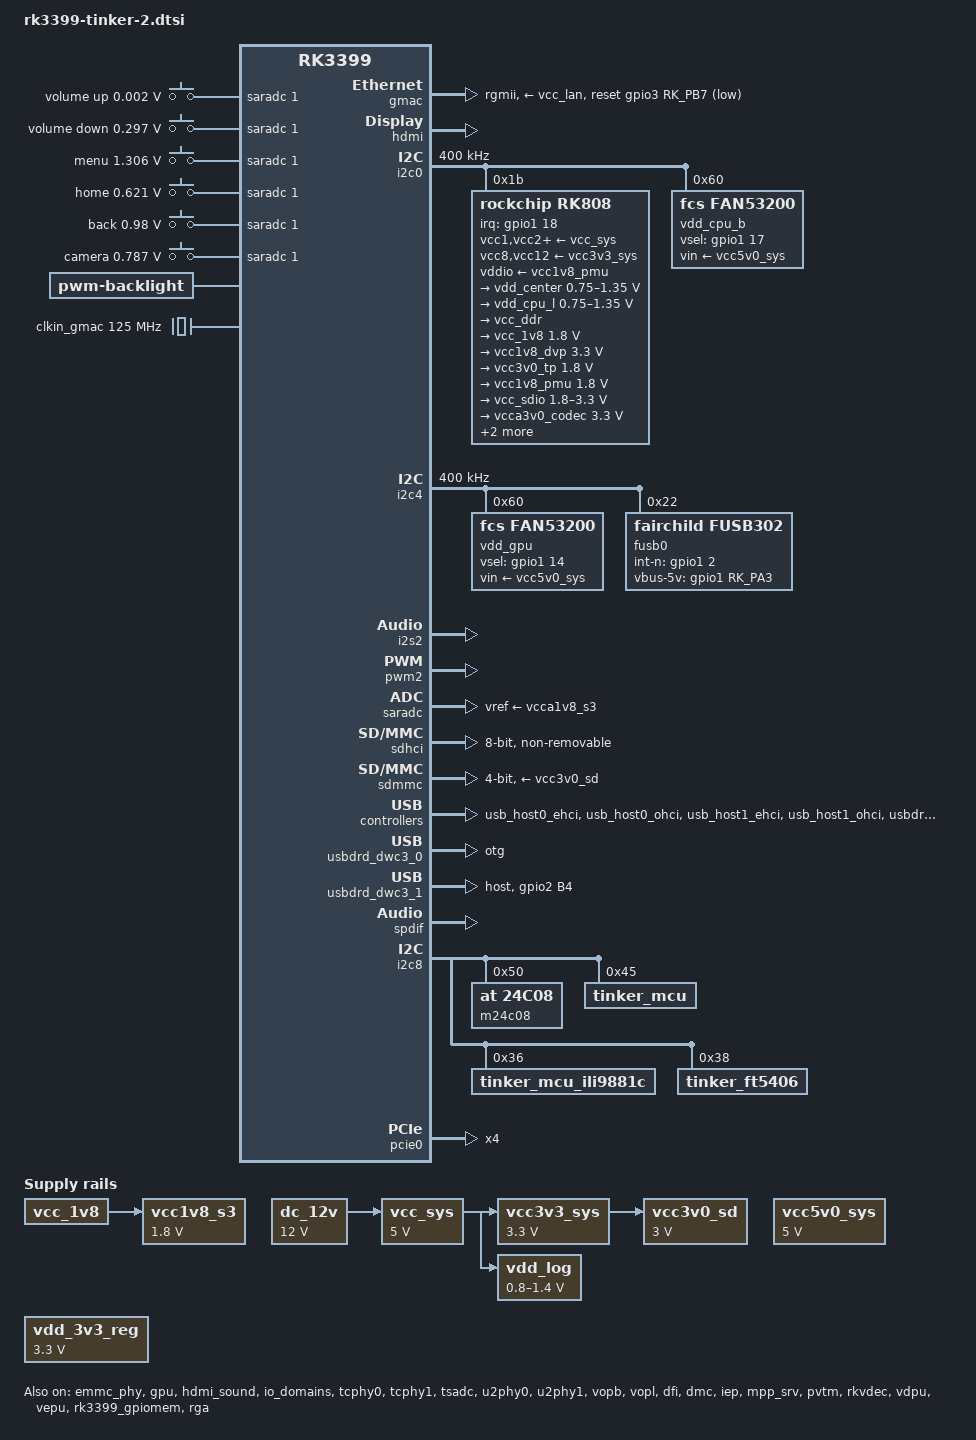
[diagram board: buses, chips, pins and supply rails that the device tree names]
/*
 * Copyright (c) 2016 Fuzhou Rockchip Electronics Co., Ltd
 *
 * This file is dual-licensed: you can use it either under the terms
 * of the GPL or the X11 license, at your option. Note that this dual
 * licensing only applies to this file, and not this project as a
 * whole.
 *
 *  a) This file is free software; you can redistribute it and/or
 *     modify it under the terms of the GNU General Public License as
 *     published by the Free Software Foundation; either version 2 of the
 *     License, or (at your option) any later version.
 *
 *     This file is distributed in the hope that it will be useful,
 *     but WITHOUT ANY WARRANTY; without even the implied warranty of
 *     MERCHANTABILITY or FITNESS FOR A PARTICULAR PURPOSE.  See the
 *     GNU General Public License for more details.
 *
 * Or, alternatively,
 *
 *  b) Permission is hereby granted, free of charge, to any person
 *     obtaining a copy of this software and associated documentation
 *     files (the "Software"), to deal in the Software without
 *     restriction, including without limitation the rights to use,
 *     copy, modify, merge, publish, distribute, sublicense, and/or
 *     sell copies of the Software, and to permit persons to whom the
 *     Software is furnished to do so, subject to the following
 *     conditions:
 *
 *     The above copyright notice and this permission notice shall be
 *     included in all copies or substantial portions of the Software.
 *
 *     THE SOFTWARE IS PROVIDED "AS IS", WITHOUT WARRANTY OF ANY KIND,
 *     EXPRESS OR IMPLIED, INCLUDING BUT NOT LIMITED TO THE WARRANTIES
 *     OF MERCHANTABILITY, FITNESS FOR A PARTICULAR PURPOSE AND
 *     NONINFRINGEMENT. IN NO EVENT SHALL THE AUTHORS OR COPYRIGHT
 *     HOLDERS BE LIABLE FOR ANY CLAIM, DAMAGES OR OTHER LIABILITY,
 *     WHETHER IN AN ACTION OF CONTRACT, TORT OR OTHERWISE, ARISING
 *     FROM, OUT OF OR IN CONNECTION WITH THE SOFTWARE OR THE USE OR
 *     OTHER DEALINGS IN THE SOFTWARE.
 */

#include <dt-bindings/sensor-dev.h>
#include <dt-bindings/display/drm_mipi_dsi.h>
#include "dt-bindings/pwm/pwm.h"
#include "dt-bindings/input/input.h"
#include "rk3399.dtsi"
#include "rk3399-opp.dtsi"
#include "rk3399-vop-clk-set.dtsi"

/ {
	compatible = "rockchip,rk3399-tinker_board_2", "rockchip,rk3399";

	reserved-memory {
		#address-cells = <2>;
		#size-cells = <2>;
		ranges;

		drm_logo: drm-logo@00000000 {
			compatible = "rockchip,drm-logo";
			reg = <0x0 0x0 0x0 0x0>;
		};

		ramoops: ramoops@110000 {
			compatible = "ramoops";
			reg = <0x0 0x110000 0x0 0xf0000>;
			record-size = <0x20000>;
			console-size = <0x80000>;
			ftrace-size = <0x00000>;
			pmsg-size = <0x50000>;
		};
	};

	rk3399_gpiomem: rk3399-gpiomem {
		compatible = "rockchip,rk3399-gpiomem";
		reg = <0x0 0xff720000 0x0 0x1000>;
		status = "okay";
	};

	fiq_debugger: fiq-debugger {
		compatible = "rockchip,fiq-debugger";
		rockchip,serial-id = <2>;
		rockchip,signal-irq = <182>;
		rockchip,wake-irq = <0>;
		rockchip,irq-mode-enable = <1>;  /* If enable uart uses irq instead of fiq */
		rockchip,baudrate = <115200>;  /* Only 115200 and 1500000 */
		pinctrl-names = "default";
		pinctrl-0 = <&uart2c_xfer>;
		status = "okay";
	};

	cif_isp0: cif_isp@ff910000 {
		compatible = "rockchip,rk3399-cif-isp";
		rockchip,grf = <&grf>;
		reg = <0x0 0xff910000 0x0 0x4000>, <0x0 0xff968000 0x0 0x8000>;
		reg-names = "register", "dsihost-register";
		clocks =
			<&cru ACLK_ISP0_NOC>, <&cru ACLK_ISP0_WRAPPER>,
			<&cru HCLK_ISP0_NOC>, <&cru HCLK_ISP0_WRAPPER>,
			<&cru SCLK_ISP0>, <&cru SCLK_DPHY_RX0_CFG>,
			<&cru SCLK_CIF_OUT>, <&cru SCLK_CIF_OUT>,
			<&cru SCLK_MIPIDPHY_REF>;
		clock-names =
			"aclk_isp0_noc", "aclk_isp0_wrapper",
			"hclk_isp0_noc", "hclk_isp0_wrapper",
			"clk_isp0", "pclk_dphyrx",
			"clk_cif_out", "clk_cif_pll",
			"pclk_dphy_ref";
		interrupts = <GIC_SPI 43 IRQ_TYPE_LEVEL_HIGH 0>;
		interrupt-names = "cif_isp10_irq";
		power-domains = <&power RK3399_PD_ISP0>;
		rockchip,isp,iommu-enable = <1>;
		iommus = <&isp0_mmu>;
		status = "disabled";
	};

	cif_isp1: cif_isp@ff920000 {
		compatible = "rockchip,rk3399-cif-isp";
		rockchip,grf = <&grf>;
		reg = <0x0 0xff920000 0x0 0x4000>, <0x0 0xff968000 0x0 0x8000>;
		reg-names = "register", "dsihost-register";
		clocks =
			<&cru ACLK_ISP1_NOC>, <&cru ACLK_ISP1_WRAPPER>,
			<&cru HCLK_ISP1_NOC>, <&cru HCLK_ISP1_WRAPPER>,
			<&cru SCLK_ISP1>, <&cru PCLK_ISP1_WRAPPER>,
			<&cru SCLK_DPHY_TX1RX1_CFG>,
			<&cru PCLK_MIPI_DSI1>, <&cru SCLK_MIPIDPHY_CFG>,
			<&cru SCLK_CIF_OUT>, <&cru SCLK_CIF_OUT>,
			<&cru SCLK_MIPIDPHY_REF>;
		clock-names =
			"aclk_isp1_noc", "aclk_isp1_wrapper",
			"hclk_isp1_noc", "hclk_isp1_wrapper",
			"clk_isp1", "pclkin_isp1",
			"pclk_dphytxrx",
			"pclk_mipi_dsi","mipi_dphy_cfg",
			"clk_cif_out", "clk_cif_pll",
			"pclk_dphy_ref";
		interrupts = <GIC_SPI 44 IRQ_TYPE_LEVEL_HIGH 0>;
		interrupt-names = "cif_isp10_irq";
		power-domains = <&power RK3399_PD_ISP1>;
		rockchip,isp,iommu-enable = <1>;
		iommus = <&isp1_mmu>;
		status = "disabled";
	};

	rga: rga@ff680000 {
		compatible = "rockchip,rga2";
		dev_mode = <1>;
		reg = <0x0 0xff680000 0x0 0x1000>;
		interrupts = <GIC_SPI 55 IRQ_TYPE_LEVEL_HIGH 0>;
		clocks = <&cru ACLK_RGA>, <&cru HCLK_RGA>, <&cru SCLK_RGA_CORE>;
		clock-names = "aclk_rga", "hclk_rga", "clk_rga";
		power-domains = <&power RK3399_PD_RGA>;
		status = "okay";
	};

	spdif-sound {
		status = "disabled";
		compatible = "simple-audio-card";
		simple-audio-card,name = "ROCKCHIP,SPDIF";
		simple-audio-card,cpu {
			sound-dai = <&spdif>;
		};
		simple-audio-card,codec {
			sound-dai = <&spdif_out>;
		};
	};

	spdif_out: spdif-out {
		status = "okay";
		compatible = "linux,spdif-dit";
		#sound-dai-cells = <0>;
	};

	sdio_pwrseq: sdio-pwrseq {
		compatible = "mmc-pwrseq-simple";
		clocks = <&rk808 1>;
		clock-names = "ext_clock";
		pinctrl-names = "default";
		//pinctrl-0 = <&wifi_enable_h>;

		/*
		 * On the module itself this is one of these (depending
		 * on the actual card populated):
		 * - SDIO_RESET_L_WL_REG_ON
		 * - PDN (power down when low)
		 */
		//reset-gpios = <&gpio0 10 GPIO_ACTIVE_LOW>; /* GPIO0_B2 */
	};

	wireless-wlan {
		compatible = "wlan-platdata";
		wifi_chip_type = "rtl8822ce";
		status = "okay";
	};

	wireless-bluetooth {
		compatible = "bluetooth-platdata";
		clocks = <&rk808 1>;
		clock-names = "ext_clock";
		//wifi-bt-power-toggle;
		pinctrl-names = "default", "rts_gpio";
		pinctrl-0 = <&bt_reset_gpio>, <&bt_wake_gpio>, <&bt_irq_gpio>;
		//BT,power_gpio  = <&gpio3 19 GPIO_ACTIVE_HIGH>; /* GPIOx_xx */
		BT,reset_gpio    = <&gpio0 9 GPIO_ACTIVE_HIGH>; /* GPIO0_B1 */
		BT,wake_gpio     = <&gpio2 26 GPIO_ACTIVE_HIGH>; /* GPIO2_D2 */
		//BT,wake_host_irq = <&gpio0 4 GPIO_ACTIVE_HIGH>; /* GPIO0_A4 */
		status = "disabled";
	};

	adc_keys: adc-keys {
		compatible = "adc-keys";
		io-channels = <&saradc 1>;
		io-channel-names = "buttons";
		keyup-threshold-microvolt = <1800000>;
		poll-interval = <100>;

		vol-up-key {
			label = "volume up";
			linux,code = <KEY_VOLUMEUP>;
			press-threshold-microvolt = <1750>;
		};

		vol-down-key {
			label = "volume down";
			linux,code = <KEY_VOLUMEDOWN>;
			press-threshold-microvolt = <297500>;
		};

		menu-key {
			label = "menu";
			linux,code = <KEY_MENU>;
			press-threshold-microvolt = <1305500>;
		};

		home-key {
			label = "home";
			linux,code = <KEY_HOME>;
			press-threshold-microvolt = <621250>;
		};

		back-key {
			label = "back";
			linux,code = <KEY_BACK>;
			press-threshold-microvolt = <980000>;
		};

		camera-key {
			label = "camera";
			linux,code = <KEY_CAMERA>;
			press-threshold-microvolt = <787500>;
		};
	};

	backlight: backlight {
		compatible = "pwm-backlight";
		brightness-levels = <
			  0   1   2   3   4   5   6   7
			  8   9  10  11  12  13  14  15
			 16  17  18  19  20  21  22  23
			 24  25  26  27  28  29  30  31
			 32  33  34  35  36  37  38  39
			 40  41  42  43  44  45  46  47
			 48  49  50  51  52  53  54  55
			 56  57  58  59  60  61  62  63
			 64  65  66  67  68  69  70  71
			 72  73  74  75  76  77  78  79
			 80  81  82  83  84  85  86  87
			 88  89  90  91  92  93  94  95
			 96  97  98  99 100 101 102 103
			104 105 106 107 108 109 110 111
			112 113 114 115 116 117 118 119
			120 121 122 123 124 125 126 127
			128 129 130 131 132 133 134 135
			136 137 138 139 140 141 142 143
			144 145 146 147 148 149 150 151
			152 153 154 155 156 157 158 159
			160 161 162 163 164 165 166 167
			168 169 170 171 172 173 174 175
			176 177 178 179 180 181 182 183
			184 185 186 187 188 189 190 191
			192 193 194 195 196 197 198 199
			200 201 202 203 204 205 206 207
			208 209 210 211 212 213 214 215
			216 217 218 219 220 221 222 223
			224 225 226 227 228 229 230 231
			232 233 234 235 236 237 238 239
			240 241 242 243 244 245 246 247
			248 249 250 251 252 253 254 255>;
		default-brightness-level = <200>;
	};

	clkin_gmac: external-gmac-clock {
		compatible = "fixed-clock";
		clock-frequency = <125000000>;
		clock-output-names = "clkin_gmac";
		#clock-cells = <0>;
	};

	dc_12v: dc-12v {
		compatible = "regulator-fixed";
		regulator-name = "dc_12v";
		regulator-always-on;
		regulator-boot-on;
		regulator-min-microvolt = <12000000>;
		regulator-max-microvolt = <12000000>;
	};

	dp_sound: dp-sound {
		status = "disabled";
		compatible = "rockchip,cdndp-sound";
		rockchip,cpu = <&spdif>;
		rockchip,codec = <&cdn_dp 1>;
	};

	sound-ext-card {
		status = "disabled";
	};

	/* switched by pmic_sleep */
	vcc1v8_s3: vcca1v8_s3: vcc1v8-s3 {
		compatible = "regulator-fixed";
		regulator-name = "vcc1v8_s3";
		regulator-always-on;
		regulator-boot-on;
		regulator-min-microvolt = <1800000>;
		regulator-max-microvolt = <1800000>;
		vin-supply = <&vcc_1v8>;
	};

	vcc3v0_sd: vcc3v0-sd {
		compatible = "regulator-fixed";
		enable-active-high;
		pinctrl-names = "default";
		regulator-always-on;
		regulator-max-microvolt = <3000000>;
		regulator-min-microvolt = <3000000>;
		regulator-name = "vcc3v0_sd";
		vin-supply = <&vcc3v3_sys>;
	};

	vcc3v3_sys: vcc3v3-sys {
		compatible = "regulator-fixed";
		regulator-name = "vcc3v3_sys";
		regulator-always-on;
		regulator-boot-on;
		regulator-min-microvolt = <3300000>;
		regulator-max-microvolt = <3300000>;
		vin-supply = <&vcc_sys>;
	};

	vcc_sys: vcc-sys {
		compatible = "regulator-fixed";
		regulator-name = "vcc_sys";
		regulator-always-on;
		regulator-boot-on;
		regulator-min-microvolt = <5000000>;
		regulator-max-microvolt = <5000000>;
		vin-supply = <&dc_12v>;
	};

	vcc5v0_sys: vcc5v0-sys {
		compatible = "regulator-fixed";
		regulator-name = "vcc5v0_sys";
		regulator-always-on;
		regulator-boot-on;
		regulator-min-microvolt = <5000000>;
		regulator-max-microvolt = <5000000>;
	};

	vdd_3v3_reg: fixedregulator_3v3 {
		compatible = "regulator-fixed";
		regulator-name = "3v3";
		regulator-min-microvolt = <3300000>;
		regulator-max-microvolt = <3300000>;
		regulator-always-on;
	};

	vdd_log: vdd-log {
		compatible = "pwm-regulator";
		pwms = <&pwm2 0 25000 1>;
		regulator-name = "vdd_log";
		regulator-always-on;
		regulator-boot-on;
		regulator-min-microvolt = <800000>;
		regulator-max-microvolt = <1400000>;
		vin-supply = <&vcc_sys>;
	};

	/* first 64k(0xff8c0000~0xff8d0000) for ddr and suspend */
	iram: sram@ff8d0000 {
		compatible = "mmio-sram";
		reg = <0x0 0xff8d0000 0x0 0x20000>; /* 128k */
	};
};

&dmac_bus {
	iram = <&iram>;
	rockchip,force-iram;
};

&cpu_l0 {
	cpu-supply = <&vdd_cpu_l>;
};

&cpu_l1 {
	cpu-supply = <&vdd_cpu_l>;
};

&cpu_l2 {
	cpu-supply = <&vdd_cpu_l>;
};

&cpu_l3 {
	cpu-supply = <&vdd_cpu_l>;
};

&cpu_b0 {
	cpu-supply = <&vdd_cpu_b>;
};

&cpu_b1 {
	cpu-supply = <&vdd_cpu_b>;
};

&emmc_phy {
	status = "okay";
};

&gmac {
	assigned-clocks = <&cru SCLK_RMII_SRC>;
	assigned-clock-parents = <&cru SCLK_MAC>;
	assigned-clock-rates = <125000000>;
	clock_in_out = "output";
	phy-supply = <&vcc_lan>;
	phy-mode = "rgmii";
	pinctrl-names = "default";
	pinctrl-0 = <&rgmii_pins>;
	snps,reset-gpio = <&gpio3 RK_PB7 GPIO_ACTIVE_LOW>;
	snps,reset-active-low;
	snps,reset-delays-us = <0 16000 72000>;
	tx_delay = <0x25>;
	rx_delay = <0x20>;
	wakeup-enable = "0";
	wolirq-gpio = <&gpio3 16 GPIO_ACTIVE_LOW>;
	status = "okay";
};

&gpu {
	mali-supply = <&vdd_gpu>;
	status = "okay";
};

&hdmi {
	status = "okay";
};

&hdmi_sound {
	status = "okay";
};

&i2c0 {
	clock-frequency = <400000>;
	i2c-scl-rising-time-ns = <168>;
	i2c-scl-falling-time-ns = <4>;
	status = "okay";

	rk808: pmic@1b {
		compatible = "rockchip,rk808";
		reg = <0x1b>;
		interrupt-parent = <&gpio1>;
		interrupts = <18 IRQ_TYPE_LEVEL_LOW>;
		#clock-cells = <1>;
		clock-output-names = "xin32k", "rk808-clkout2";
		pinctrl-names = "default";
		pinctrl-0 = <&pmic_int_l &pmic_dvs2>;
		rockchip,system-power-controller;
		wakeup-source;

		vcc1-supply = <&vcc_sys>;
		vcc2-supply = <&vcc_sys>;
		vcc3-supply = <&vcc_sys>;
		vcc4-supply = <&vcc_sys>;
		vcc6-supply = <&vcc_sys>;
		vcc7-supply = <&vcc_sys>;
		vcc8-supply = <&vcc3v3_sys>;
		vcc9-supply = <&vcc_sys>;
		vcc10-supply = <&vcc_sys>;
		vcc11-supply = <&vcc_sys>;
		vcc12-supply = <&vcc3v3_sys>;
		vddio-supply = <&vcc1v8_pmu>;

		regulators {
			vdd_center: DCDC_REG1 {
				regulator-name = "vdd_center";
				regulator-always-on;
				regulator-boot-on;
				regulator-min-microvolt = <750000>;
				regulator-max-microvolt = <1350000>;
				regulator-ramp-delay = <6001>;
				regulator-state-mem {
					regulator-off-in-suspend;
				};
			};

			vdd_cpu_l: DCDC_REG2 {
				regulator-name = "vdd_cpu_l";
				regulator-always-on;
				regulator-boot-on;
				regulator-min-microvolt = <750000>;
				regulator-max-microvolt = <1350000>;
				regulator-ramp-delay = <6001>;
				regulator-state-mem {
					regulator-off-in-suspend;
				};
			};

			vcc_ddr: DCDC_REG3 {
				regulator-name = "vcc_ddr";
				regulator-always-on;
				regulator-boot-on;
				regulator-state-mem {
					regulator-on-in-suspend;
				};
			};

			vcc_1v8: DCDC_REG4 {
				regulator-name = "vcc_1v8";
				regulator-always-on;
				regulator-boot-on;
				regulator-min-microvolt = <1800000>;
				regulator-max-microvolt = <1800000>;
				regulator-state-mem {
					regulator-on-in-suspend;
					regulator-suspend-microvolt = <1800000>;
				};
			};

			vcc1v8_dvp: LDO_REG1 {
				regulator-name = "vcc1v8_dvp";
				regulator-always-on;
				regulator-boot-on;
				regulator-min-microvolt = <3300000>;
				regulator-max-microvolt = <3300000>;
				regulator-state-mem {
					regulator-off-in-suspend;
				};
			};

			vcc3v0_tp: LDO_REG2 {
				regulator-name = "vcc3v0_tp";
				regulator-always-on;
				regulator-boot-on;
				regulator-min-microvolt = <1800000>;
				regulator-max-microvolt = <1800000>;
				regulator-state-mem {
					regulator-off-in-suspend;
				};
			};

			vcc1v8_pmu: LDO_REG3 {
				regulator-name = "vcc1v8_pmu";
				regulator-always-on;
				regulator-boot-on;
				regulator-min-microvolt = <1800000>;
				regulator-max-microvolt = <1800000>;
				regulator-state-mem {
					regulator-on-in-suspend;
					regulator-suspend-microvolt = <1800000>;
				};
			};

			vcc_sdio: LDO_REG4 {
				regulator-name = "vcc_sdio";
				regulator-always-on;
				regulator-boot-on;
				regulator-min-microvolt = <1800000>;
				regulator-max-microvolt = <3300000>;
				regulator-state-mem {
					regulator-on-in-suspend;
					regulator-suspend-microvolt = <3000000>;
				};
			};

			vcca3v0_codec: LDO_REG5 {
				regulator-name = "vcca3v0_codec";
				regulator-always-on;
				regulator-boot-on;
				regulator-min-microvolt = <3300000>;
				regulator-max-microvolt = <3300000>;
				regulator-state-mem {
					regulator-off-in-suspend;
				};
			};

			vcc_1v5: LDO_REG6 {
				regulator-name = "vcc_1v5";
				regulator-always-on;
				regulator-boot-on;
				regulator-min-microvolt = <1500000>;
				regulator-max-microvolt = <1500000>;
				regulator-state-mem {
					regulator-on-in-suspend;
					regulator-suspend-microvolt = <1500000>;
				};
			};

			vcca1v8_codec: LDO_REG7 {
				regulator-name = "vcca1v8_codec";
				regulator-always-on;
				regulator-boot-on;
				regulator-min-microvolt = <900000>;
				regulator-max-microvolt = <900000>;
				regulator-state-mem {
					regulator-off-in-suspend;
				};
			};

			vcc_3v0: LDO_REG8 {
				regulator-name = "vcc_3v0";
				regulator-always-on;
				regulator-boot-on;
				regulator-min-microvolt = <3000000>;
				regulator-max-microvolt = <3000000>;
				regulator-state-mem {
					regulator-on-in-suspend;
					regulator-suspend-microvolt = <3000000>;
				};
			};

			vcc3v3_s3: vcc_lan: SWITCH_REG1 {
				regulator-name = "vcc3v3_s3";
				regulator-always-on;
				regulator-boot-on;
				regulator-state-mem {
					regulator-on-in-suspend;
				};
			};

			vcc3v3_s0: SWITCH_REG2 {
				regulator-name = "vcc3v3_s0";
				regulator-always-on;
				regulator-boot-on;
				regulator-state-mem {
					regulator-off-in-suspend;
				};
			};
		};
	};

	vdd_cpu_b: fan53200@60 {
		compatible = "fcs,fan53200";
		reg = <0x60>;
		vin-supply = <&vcc5v0_sys>;
		regulator-compatible = "fan53200-reg";
		pinctrl-names = "default";
		pinctrl-0 = <&vsel1_gpio>;
		vsel-gpios = <&gpio1 17 GPIO_ACTIVE_HIGH>;
		regulator-name = "vdd_cpu_b";
		regulator-min-microvolt = <800000>;
		regulator-max-microvolt = <1250000>;
		regulator-ramp-delay = <1000>;
		fcs,suspend-voltage-selector = <1>;
		regulator-always-on;
		regulator-boot-on;
		regulator-initial-state = <3>;
			regulator-state-mem {
			regulator-off-in-suspend;
		};
	};
};

&i2c4 {
	status = "okay";
	i2c-scl-rising-time-ns = <475>;
	i2c-scl-falling-time-ns = <26>;
	clock-frequency = <400000>;

	vdd_gpu: fan53200@60 {
		compatible = "fcs,fan53200";
		reg = <0x60>;
		vin-supply = <&vcc5v0_sys>;
		regulator-compatible = "fan53200-reg";
		pinctrl-names = "default";
		pinctrl-0 = <&vsel2_gpio>;
		vsel-gpios = <&gpio1 14 GPIO_ACTIVE_HIGH>;
		regulator-name = "vdd_gpu";
		regulator-min-microvolt = <800000>;
		regulator-max-microvolt = <1200000>;
		regulator-ramp-delay = <1000>;
		fcs,suspend-voltage-selector = <1>;
		regulator-always-on;
		regulator-boot-on;
		regulator-initial-state = <3>;
			regulator-state-mem {
			regulator-off-in-suspend;
		};
	};

	fusb0: fusb30x@22 {
		compatible = "fairchild,fusb302";
		reg = <0x22>;
		pinctrl-names = "default";
		pinctrl-0 = <&fusb0_int>;
		int-n-gpios = <&gpio1 2 GPIO_ACTIVE_HIGH>;
		vbus-5v-gpios = <&gpio1 RK_PA3 GPIO_ACTIVE_HIGH>;
		status = "okay";
	};
};

&i2s2 {
	status = "okay";
};

&io_domains {
	status = "okay";

	bt656-supply = <&vcc_3v0>;
	audio-supply = <&vcc_3v0>;
	sdmmc-supply = <&vcc_sdio>;
	gpio1830-supply = <&vcc_3v0>;
};

&pmu_io_domains {
	pmu1830-supply = <&vcc_3v0>;
	status = "okay";
};

&pwm0 {
	status = "disabled";
};

&pwm1 {
        status = "disable";
};

&pwm3 {
        status = "disable";
};

&pwm2 {
	status = "okay";
	pinctrl-names = "active";
	pinctrl-0 = <&pwm2_pin_pull_down>;
};

&saradc {
	vref-supply = <&vcca1v8_s3>;
	status = "okay";
};

&sdhci {
	bus-width = <8>;
	mmc-hs400-1_8v;
	mmc-hs400-enhanced-strobe;
	non-removable;
	supports-emmc;
	status = "okay";
};

&sdmmc {
	broken-cd;
	bus-width = <4>;
	cap-mmc-highspeed;
	cap-sd-highspeed;
	supports-sd;
	clock-frequency = <150000000>;
	disable-wp;
	sd-uhs-sdr104;
	max-frequency = <150000000>;
	pinctrl-names = "default";
	pinctrl-0 = <&sdmmc_clk &sdmmc_cmd &sdmmc_cd &sdmmc_bus4>;
	vmmc-supply = <&vcc3v0_sd>;
	vqmmc-supply = <&vcc_sdio>;
	status = "okay";
};

&tcphy0 {
	extcon = <&fusb0>;
	status = "okay";
};

&tcphy1 {
	status = "okay";
};

&tsadc {
	/* tshut mode 0:CRU 1:GPIO */
	rockchip,hw-tshut-mode = <1>;
	/* tshut polarity 0:LOW 1:HIGH */
	rockchip,hw-tshut-polarity = <1>;
	status = "okay";
};

&u2phy0 {
	status = "okay";
	extcon = <&fusb0>;

	u2phy0_otg: otg-port {
		status = "okay";
	};

	u2phy0_host: host-port {
		status = "okay";
	};
};

&u2phy1 {
	status = "okay";

	u2phy1_otg: otg-port {
		status = "okay";
	};

	u2phy1_host: host-port {
		status = "okay";
	};
};

&uart0 {
	pinctrl-names = "default";
	pinctrl-0 = <&uart0_xfer &uart0_cts &uart0_rts>;
	status = "disabled";
};

&uart2 {
	status = "okay";
};

&uart4 {
	status = "disabled";
};

&usb_host0_ehci {
	status = "okay";
};

&usb_host0_ohci {
	status = "okay";
};

&usb_host1_ehci {
	status = "okay";
};

&usb_host1_ohci {
	status = "okay";
};

&usbdrd3_0 {
	status = "okay";
};

&usbdrd_dwc3_0 {
	status = "okay";
	dr_mode = "otg";
	extcon = <&fusb0>;
};

&usbdrd3_1 {
	status = "okay";
};

&usbdrd_dwc3_1 {
	status = "okay";
	dr_mode = "host";
	pinctrl-names = "default";
	pinctrl-0 = <&hub_vbus_gpio>;
	hub-vbus-gpios = <&gpio2 RK_PB4 GPIO_ACTIVE_HIGH>,
			 <&gpio2 RK_PB4 GPIO_ACTIVE_LOW>;
};

&vopb {
	status = "okay";
};

&vopb_mmu {
	status = "okay";
};

&vopl {
	status = "okay";
};

&vopl_mmu {
	status = "okay";
};

&dfi {
	status = "okay";
};

&dmc {
	status = "okay";
	center-supply = <&vdd_center>;
	upthreshold = <40>;
	downdifferential = <20>;
	system-status-freq = <
		/*system status         freq(KHz)*/
		SYS_STATUS_NORMAL       856000
		SYS_STATUS_REBOOT       416000
		SYS_STATUS_SUSPEND      416000
		SYS_STATUS_VIDEO_1080P  856000
		SYS_STATUS_VIDEO_4K     856000
		SYS_STATUS_VIDEO_4K_10B 856000
		SYS_STATUS_PERFORMANCE  856000
		SYS_STATUS_BOOST        856000
		SYS_STATUS_DUALVIEW     856000
		SYS_STATUS_ISP          856000
	>;
	vop-bw-dmc-freq = <
	/* min_bw(MB/s) max_bw(MB/s) freq(KHz) */
		0       577      416000
		578     99999    856000
	>;
	vop-pn-msch-readlatency = <
	/* plane_number  readlatency */
		0       0
		4       0x20
	>;
	auto-min-freq = <416000>;
	auto-freq-en = <1>;
};

&dmc_opp_table {
	compatible = "operating-points-v2";

	opp-200000000 {
		opp-hz = /bits/ 64 <200000000>;
		opp-microvolt = <900000>;
		status = "disabled";
	};
	opp-300000000 {
		opp-hz = /bits/ 64 <300000000>;
		opp-microvolt = <900000>;
		status = "disabled";
	};
	opp-400000000 {
		opp-hz = /bits/ 64 <400000000>;
		opp-microvolt = <900000>;
		status = "disabled";
	};
	opp-416000000 {
		opp-hz = /bits/ 64 <416000000>;
		opp-microvolt = <1000000>;
	};
	opp-528000000 {
		opp-hz = /bits/ 64 <528000000>;
		opp-microvolt = <900000>;
		status = "disabled";
	};
	opp-600000000 {
		opp-hz = /bits/ 64 <600000000>;
		opp-microvolt = <900000>;
		status = "disabled";
	};
	opp-800000000 {
		opp-hz = /bits/ 64 <800000000>;
		opp-microvolt = <900000>;
		status = "disabled";
	};
	opp-856000000 {
		opp-hz = /bits/ 64 <856000000>;
		opp-microvolt = <1000000>;
	};
};

&spdif {
	status = "okay";
	pinctrl-0 = <&spdif_bus>;
	i2c-scl-rising-time-ns = <450>;
	i2c-scl-falling-time-ns = <15>;
	#sound-dai-cells = <0>;
};

&dp_sound {
	status = "okay";
};

&spdif_out {
	status = "disabled";
};

&i2s0 {
	status = "disabled";
	rockchip,playback-channels = <8>;
	rockchip,capture-channels = <8>;
	#sound-dai-cells = <0>;
};

&i2c8 {
	status = "okay";
	m24c08@50 {
		compatible = "at,24c08";
		reg = <0x50>;
	};

	dsi_lvds_bridge: sn65dsi84@2c {
		compatible = "sn65dsi84";
		status = "disabled";
		reg = <0x2c>;

		lvds-clk-rate = <72000000>;
		lvds-format = <2>;
		lvds-bpp = <24>;
		dsi-lanes = <4>;//u-boot
		sync_delay = <33>;
		//dual-link;
		//test-pattern;

		t1=<0>;
		t2=<1>;
		t3=<500>;
		t4=<200>;
		t5=<1>;
		t6=<0>;
		t7=<1000>;

		pinctrl-names = "default";
		pinctrl-0 =  <&pinctrl_sn65dsi84_en &pinctrl_lvds_vdd_en &pinctrl_sn65dsi84_irq  &pinctrl_pwr_source>;//<&pinctrl_lvds_hdmi_sel>

		/*lvds_hdmi_sel-gpios = <&5 23 GPIO_ACTIVE_HIGH>;*/
		EN-gpios = <&gpio1 RK_PA7 GPIO_ACTIVE_HIGH>;
		lvds_vdd_en-gpios = <&gpio1 RK_PB1 GPIO_ACTIVE_HIGH>;
		dsi84_irq-gpios = <&gpio1 RK_PB2 GPIO_ACTIVE_HIGH>;
		pwr_source-gpios = <&gpio0 RK_PA6 GPIO_ACTIVE_HIGH>;
	};

	dsi_edp_bridge: sn65dsi86@2d {
		compatible = "sn65dsi86";
		status = "disabled";
		reg = <0x2d>;

		dsi-lanes = <4>;//u-boot
		data-lanes-size = <2>;//u-boot
		bpc=<8>;//u-boot
		data-lanes = <0 1>;
		lane-polarities = <0 0 0 0>;

		t1=<0>;
		t2=<0>;
		t3=<200>;
		t4=<20>;
		t5=<0>;
		t6=<0>;
		t7=<0>;
		t8=<100>;
		t12= <500>;
		t14= <15>;//Backlight node:enable_delay = <15>;
		t15 = <15>;//Backlight node:post-pwm-on-delay-ms = <15>;
		t16= <15>;//Backlight node:pwm-off-delay-ms = <15>;
		t17 = <15>;//Backlight node:disable_delay = <15>;

		pinctrl-names = "default";
		pinctrl-0 =  <&pinctrl_sn65dsi84_en>, <&pinctrl_lvds_vdd_en>, <&pinctrl_sn65dsi84_irq>, <&pinctrl_pwr_source>;//<&pinctrl_lvds_bl_en>;

		EN-gpios = <&gpio1 RK_PA7 GPIO_ACTIVE_HIGH>;
		edp_vdd_en-gpios = <&gpio1 RK_PB1 GPIO_ACTIVE_HIGH>;
		//dsi86_vbl_en-gpios = <&gpio1 RK_PB0 GPIO_ACTIVE_HIGH>;
		dsi86_irq-gpios = <&gpio1 RK_PB2 GPIO_ACTIVE_HIGH>;
		pwr_source-gpios = <&gpio0 RK_PA6 GPIO_ACTIVE_HIGH>;
	};

	tinker_mcu: tinker_mcu@45 {
		compatible = "tinker_mcu";
		reg = <0x45>;
	};

	tinker_mcu_ili9881c: tinker_mcu_ili9881c@36 {
		compatible = "tinker_mcu_ili9881c";
		reg = <0x36>;
	};

	tinker_ft5406: tinker_ft5406@38 {
		compatible = "tinker_ft5406";
		reg = <0x38>;
	};
};

&pcie0 {
	ep-gpios = <&gpio0 RK_PB4 GPIO_ACTIVE_HIGH>;
	num-lanes = <4>;
	pinctrl-names = "default";
	pinctrl-0 = <&pcie_clkreqn_cpm>;
};

&saradc {
	status = "okay";
};

&sdio0 {
	max-frequency = <100000000>;
	supports-sdio;
	bus-width = <4>;
	disable-wp;
	cap-sd-highspeed;
	cap-sdio-irq;
	keep-power-in-suspend;
	mmc-pwrseq = <&sdio_pwrseq>;
	non-removable;
	num-slots = <1>;
	pinctrl-names = "default";
	pinctrl-0 = <&sdio0_bus4 &sdio0_cmd &sdio0_clk>;
	sd-uhs-sdr104;
	status = "disabled";
};

&rockchip_suspend {
	status = "okay";
	rockchip,sleep-debug-en = <1>;
	rockchip,sleep-mode-config = <
		(0
		| RKPM_SLP_ARMPD
		| RKPM_SLP_PERILPPD
		| RKPM_SLP_DDR_RET
		| RKPM_SLP_PLLPD
		| RKPM_SLP_CENTER_PD
		| RKPM_SLP_AP_PWROFF
		)
		>;
	rockchip,wakeup-config = <
		(0
		| RKPM_GPIO_WKUP_EN
		| RKPM_PWM_WKUP_EN
		| RKPM_USB_WKUP_EN
		| RKPM_USB_LINESTATE_WKUP_EN
		)
		>;
		rockchip,pwm-regulator-config = <
		(0
		| PWM2_REGULATOR_EN
		)
		>;
		rockchip,power-ctrl =
		<&gpio1 17 GPIO_ACTIVE_HIGH>,
		<&gpio1 14 GPIO_ACTIVE_HIGH>;
};

&display_subsystem {
	status = "disabled";

	ports = <&vopb_out>, <&vopl_out>;
	logo-memory-region = <&drm_logo>;

	route {
		route_hdmi: route-hdmi {
			status = "disabled";
			logo,uboot = "logo.bmp";
			logo,kernel = "logo_kernel.bmp";
			logo,mode = "center";
			charge_logo,mode = "center";
			connect = <&vopb_out_hdmi>;
		};

		route_dsi: route-dsi {
			status = "disabled";
			logo,uboot = "logo.bmp";
			logo,kernel = "logo_kernel.bmp";
			logo,mode = "center";
			charge_logo,mode = "center";
			connect = <&vopl_out_dsi>;
		};

		route_edp: route-edp {
			status = "disabled";
			logo,uboot = "logo.bmp";
			logo,kernel = "logo_kernel.bmp";
			logo,mode = "center";
			charge_logo,mode = "center";
			connect = <&vopl_out_edp>;
		};
	};
};

&edp {
	/delete-property/pinctrl-names;
	/delete-property/pinctrl-0;
};

&iep {
	status = "okay";
};

&iep_mmu {
	status = "okay";
};

&mpp_srv {
	status = "okay";
};

&pvtm {
	status = "okay";
};

&rkvdec {
	status = "okay";
	/* 0 means ion, 1 means drm */
	//allocator = <0>;
};

//&rkvdec_mmu {
//	status = "okay";
//};

&vdpu {
	status = "okay";
};

&vepu {
	status = "okay";
};

&vpu_mmu {
	status = "okay";
};

&uart2 {
	status = "disabled";
};

&pinctrl {
	isp {
		cif_clkout: cif-clkout {
			rockchip,pins =
				/* cif_clkout */
				<2 RK_PB3 3 &pcfg_pull_none>;
		};

		isp_dvp_d0d7: isp-dvp-d0d7 {
			rockchip,pins =
				<4 RK_PD3 RK_FUNC_GPIO &pcfg_pull_none>,
				/* cif_data0 */
				<2 RK_PA0 3 &pcfg_pull_none>,
				/*cif_data1*/
				<2 RK_PA1 3 &pcfg_pull_none>,
				/*cif_data2*/
				<2 RK_PA2 3 &pcfg_pull_none>,
				/* cif_data3 */
				<2 RK_PA3 3 &pcfg_pull_none>,
				/* cif_data4 */
				<2 RK_PA4 3 &pcfg_pull_none>,
				/* cif_data5 */
				<2 RK_PA5 3 &pcfg_pull_none>,
				/* cif_data6 */
				<2 RK_PA6 3 &pcfg_pull_none>,
				/* cif_data7 */
				<2 RK_PA7 3 &pcfg_pull_none>,
				/* cif_sync */
				<2 RK_PB0 3 &pcfg_pull_none>,
				/* cif_href */
				<2 RK_PB1 3 &pcfg_pull_none>,
				/* cif_clkin */
				<2 RK_PB2 3 &pcfg_pull_none>;
		};

		isp_shutter: isp-shutter {
			rockchip,pins =
				/* SHUTTEREN */
				<1 RK_PA1 1 &pcfg_pull_none>,
				/* SHUTTERTRIG */
				<1 RK_PA0 1 &pcfg_pull_none>;
		};

		isp_flash_trigger: isp-flash-trigger {
			/* ISP_FLASHTRIGOU */
			rockchip,pins = <1 RK_PA3 1 &pcfg_pull_none>;
		};

		isp_flash_trigger_as_gpio: isp-flash-trigger-as-gpio {
			/* ISP_FLASHTRIGOU */
			rockchip,pins = <0 RK_PC1 RK_FUNC_GPIO &pcfg_pull_none>;
		};
	};

	cam_pins {
		cam0_default_pins: cam0-default-pins {
			rockchip,pins =
				<4 RK_PD3 RK_FUNC_GPIO &pcfg_pull_none>,
				<2 RK_PB3 3 &pcfg_pull_none>;
		};
		cam0_sleep_pins: cam0-sleep-pins {
			rockchip,pins =
				<4 RK_PD3 3 &pcfg_pull_none>,
				<2 RK_PB3 RK_FUNC_GPIO &pcfg_pull_none>;
		};
	};

	buttons {
		pwr_btn: pwr-btn {
			rockchip,pins = <0 RK_PA5 RK_FUNC_GPIO &pcfg_pull_up>;
		};
	};

	pmic {
		pmic_int_l: pmic-int-l {
			rockchip,pins =
				<1 18 RK_FUNC_GPIO &pcfg_pull_up>,
				<0 9 RK_FUNC_GPIO &pcfg_pull_none>; /* GPIO0_B1 */
		};

		pmic_dvs2: pmic-dvs2 {
			rockchip,pins =
				<1 RK_PC2 RK_FUNC_GPIO &pcfg_pull_down>;
		};

		vsel1_gpio: vsel1-gpio {
			rockchip,pins = <1 RK_PC1 RK_FUNC_GPIO &pcfg_pull_down>;
		};

		vsel2_gpio: vsel2-gpio {
			rockchip,pins = <1 RK_PB6 RK_FUNC_GPIO &pcfg_pull_down>;
		};
	};

	usb_hub {
		hub_vbus_gpio: hub-vbus-gpio {
			rockchip,pins =
				<2 RK_PB4 RK_FUNC_GPIO &pcfg_pull_none>;
		};
	};

	sdio-pwrseq {
		wifi_enable_h: wifi-enable-h {
			rockchip,pins =
				<0 RK_PB2 RK_FUNC_GPIO &pcfg_pull_none>;
		};
	};

	wireless-bluetooth {
		bt_reset_gpio: bt-reset-gpio {
			rockchip,pins =
				<0 RK_PB1 RK_FUNC_GPIO &pcfg_pull_none>;
		};
		bt_wake_gpio: bt-wake-gpio {
			rockchip,pins =
				<2 RK_PD2 RK_FUNC_GPIO &pcfg_pull_none>;
		};
		bt_irq_gpio: bt-irq-gpio {
			rockchip,pins =
				<0 RK_PA4 RK_FUNC_GPIO &pcfg_pull_down>;
		};
	};

	fusb30x {
		fusb0_int: fusb0-int {
			rockchip,pins = <1 RK_PA2 RK_FUNC_GPIO &pcfg_pull_up>;
		};
	};
};

&i2s0 {
	status = "disable";
};

&pwm0 {
	status = "disable";
};

&uart4 {
	status = "disable";
};


